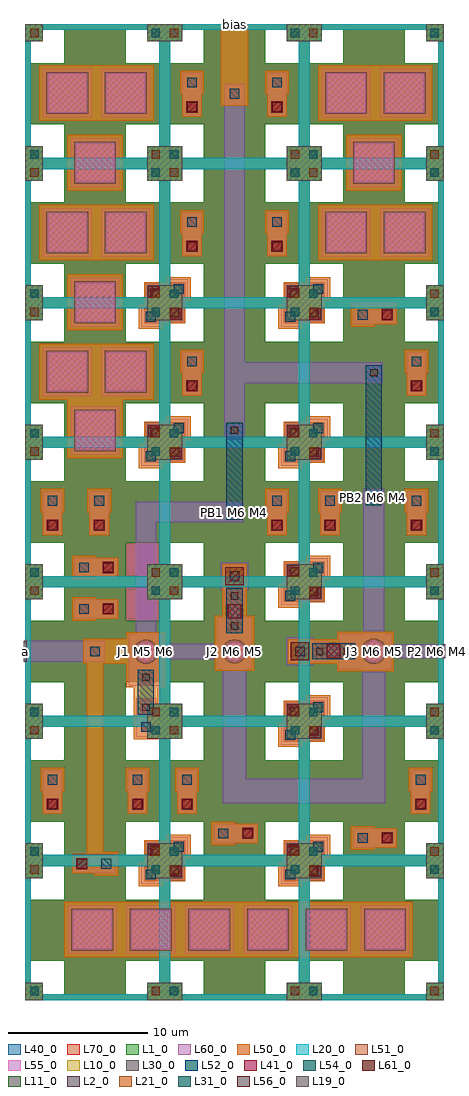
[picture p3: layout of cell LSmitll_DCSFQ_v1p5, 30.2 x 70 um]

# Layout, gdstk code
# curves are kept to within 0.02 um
from math import pi, radians
import gdstk
lib = gdstk.Library(unit=1e-6, precision=1e-09)
def R(c, l, rs):  # rectangles x0, y0, x1, y1
    for r in rs: c.add(gdstk.rectangle(r[:2], r[2:], *l))
def A(c, l, x, y, w, h, nx, ny, dx, dy):  # array of equal rectangles
    R(c, l, [(x+i*dx, y+j*dy, x+i*dx+w, y+j*dy+h) for i in range(nx) for j in range(ny)])
def P(c, l, *ps):  # polygons
    for p in ps: c.add(gdstk.Polygon(p, *l))
L1_0 = (1, 0)
L2_0 = (2, 0)
L10_0 = (10, 0)
L11_0 = (11, 0)
L19_0 = (19, 0)
L20_0 = (20, 0)
L21_0 = (21, 0)
L30_0 = (30, 0)
L31_0 = (31, 0)
L40_0 = (40, 0)
L41_0 = (41, 0)
L50_0 = (50, 0)
L51_0 = (51, 0)
L52_0 = (52, 0)
L54_0 = (54, 0)
L55_0 = (55, 0)
L56_0 = (56, 0)
L60_0 = (60, 0)
L61_0 = (61, 0)
L70_0 = (70, 0)

ls_fakejj_3umx3um = lib.new_cell('ls_FakeJJ_3umx3um')
R(ls_fakejj_3umx3um, L40_0, [(-2,-2,2,2)])
R(ls_fakejj_3umx3um, L50_0, [(-2,-2,2,2)])
R(ls_fakejj_3umx3um, L51_0, [(-1.5,-1.5,1.5,1.5)])
R(ls_fakejj_3umx3um, L55_0, [(-1.4,-1.4,1.4,1.4)])
R(ls_fakejj_3umx3um, L60_0, [(-1.75,-1.75,1.75,1.75)])

ls_tr_u_m4 = lib.new_cell('ls_tr_u_M4')
P(ls_tr_u_m4, L1_0, [(10,10),(7.2,10),(7.2,9.6),(8.75,9.6),(8.75,8.75),(9.6,8.75),(9.6,7.2),(7.2,7.2),(7.2,2.8),(9.6,2.8),(9.6,1.25),(8.75,1.25),(8.75,0.4),(7.2,0.4),(7.2,10),(1.25,10),(1.25,9.6),(2.8,9.6),(2.8,7.2),(0.4,7.2),(0.4,2.8),(2.8,2.8),(2.8,0.4),(1.25,0.4),(1.25,1.25),(0.4,1.25),(0.4,8.75),(1.25,8.75),(1.25,10),(0,10),(0,0),(10,0)])
R(ls_tr_u_m4, L2_0, [(9.05,0.35,9.65,0.95), (0.35,9.05,0.95,9.65)])
R(ls_tr_u_m4, L10_0, [(0,0,1.25,1.25), (8.75,0,10,1.25), (0,8.75,1.25,10), (8.75,8.75,10,10)])
R(ls_tr_u_m4, L11_0, [(0.35,0.35,0.95,0.95), (9.05,9.05,9.65,9.65)])
P(ls_tr_u_m4, L20_0, [(10,10),(1.25,10),(1.25,9.6),(8.75,9.6),(8.75,8.75),(9.6,8.75),(9.6,1.25),(8.75,1.25),(8.75,0.4),(1.25,0.4),(1.25,1.25),(0.4,1.25),(0.4,8.75),(1.25,8.75),(1.25,10),(0,10),(0,0),(10,0)])
R(ls_tr_u_m4, L21_0, [(9.05,0.35,9.65,0.95), (0.35,9.05,0.95,9.65)])
R(ls_tr_u_m4, L30_0, [(0,0,1.25,1.25), (8.75,0,10,1.25), (0,8.75,1.25,10), (8.75,8.75,10,10)])
R(ls_tr_u_m4, L31_0, [(0.35,0.35,0.95,0.95), (9.05,9.05,9.65,9.65)])
P(ls_tr_u_m4, L40_0, [(10,10),(7.2,10),(7.2,9.6),(8.75,9.6),(8.75,8.75),(9.6,8.75),(9.6,7.2),(7.2,7.2),(7.2,2.8),(9.6,2.8),(9.6,1.25),(8.75,1.25),(8.75,0.4),(7.2,0.4),(7.2,10),(1.25,10),(1.25,9.6),(2.8,9.6),(2.8,7.2),(0.4,7.2),(0.4,2.8),(2.8,2.8),(2.8,0.4),(1.25,0.4),(1.25,1.25),(0.4,1.25),(0.4,8.75),(1.25,8.75),(1.25,10),(0,10),(0,0),(10,0)])

ls_conn_m5m6 = lib.new_cell('ls_conn_M5M6')
R(ls_conn_m5m6, L50_0, [(0,0,1.7,1.7)])
R(ls_conn_m5m6, L54_0, [(0.5,0.5,1.2,1.2)])
R(ls_conn_m5m6, L60_0, [(0.15,0.15,1.55,1.55)])

ls_conn_m4m5m6m7 = lib.new_cell('ls_conn_M4M5M6M7')
R(ls_conn_m4m5m6m7, L40_0, [(0,0,1.4,1.4)])
R(ls_conn_m4m5m6m7, L41_0, [(0.3,0.3,1.1,1.1)])
P(ls_conn_m4m5m6m7, L50_0, [(3.3,1.55),(1.6,1.55),(1.6,1.4),(0,1.4),(0,0),(1.6,0),(1.6,-0.15),(3.3,-0.15)])
R(ls_conn_m4m5m6m7, L54_0, [(2.1,0.35,2.8,1.05)])
R(ls_conn_m4m5m6m7, L60_0, [(0,0,3.15,1.4)])
R(ls_conn_m4m5m6m7, L61_0, [(0.35,0.35,1.05,1.05)])
R(ls_conn_m4m5m6m7, L70_0, [(0,0,1.4,1.4)])

ls_tr_m7 = lib.new_cell('ls_tr_M7')
P(ls_tr_m7, L70_0, [(10,10),(7.2,10),(7.2,9.6),(8.75,9.6),(8.75,8.75),(9.6,8.75),(9.6,7.2),(7.2,7.2),(7.2,2.8),(9.6,2.8),(9.6,1.25),(8.75,1.25),(8.75,0.4),(7.2,0.4),(7.2,10),(1.25,10),(1.25,9.6),(2.8,9.6),(2.8,7.2),(0.4,7.2),(0.4,2.8),(2.8,2.8),(2.8,0.4),(1.25,0.4),(1.25,1.25),(0.4,1.25),(0.4,8.75),(1.25,8.75),(1.25,10),(0,10),(0,0),(10,0)])

ls_conn_m4m5m6m7_block = lib.new_cell('ls_conn_M4M5M6M7_block')
R(ls_conn_m4m5m6m7_block, L40_0, [(-1.475,-1.475,1.475,1.475)])
R(ls_conn_m4m5m6m7_block, L41_0, [(0.375,-1.175,1.175,-0.375), (-1.175,0.375,-0.375,1.175)])
P(ls_conn_m4m5m6m7_block, L50_0, [(1.85,1.85),(0.15,1.85),(0.15,1.475),(-1.475,1.475),(-1.475,-0.15),(-1.85,-0.15),(-1.85,-1.85),(-0.15,-1.85),(-0.15,-1.475),(1.475,-1.475),(1.475,0.15),(1.85,0.15)])
R(ls_conn_m4m5m6m7_block, L54_0, [(-1.35,-1.35,-0.65,-0.65), (0.65,0.65,1.35,1.35)])
P(ls_conn_m4m5m6m7_block, L60_0, [(1.7,1.7),(0.3,1.7),(0.3,1.45),(-1.45,1.45),(-1.45,-0.3),(-1.7,-0.3),(-1.7,-1.7),(-0.3,-1.7),(-0.3,-1.45),(1.45,-1.45),(1.45,0.3),(1.7,0.3)])
R(ls_conn_m4m5m6m7_block, L61_0, [(0.35,-1.05,1.05,-0.35), (-1.05,0.35,-0.35,1.05)])
R(ls_conn_m4m5m6m7_block, L70_0, [(-1.45,-1.45,1.45,1.45)])

ls_ib_175 = lib.new_cell('ls_ib_175')
R(ls_ib_175, L52_0, [(-0.575,0,0.575,10.05)])
R(ls_ib_175, L56_0, [(-0.26,0.29,0.26,0.81), (-0.26,9.26,0.26,9.78)])
R(ls_ib_175, L60_0, [(-0.625,-0.1,0.625,1.175), (-0.625,8.875,0.625,10.15)])

ls_ib_275 = lib.new_cell('ls_ib_275')
R(ls_ib_275, L52_0, [(-0.575,0,0.575,6.95)])
R(ls_ib_275, L56_0, [(-0.26,0.29,0.26,0.81), (-0.26,6.16,0.26,6.68)])
R(ls_ib_275, L60_0, [(-0.625,-0.1,0.625,1.175), (-0.625,5.775,0.625,7.05)])

ls_conn_m5m6m7 = lib.new_cell('ls_conn_M5M6M7')
R(ls_conn_m5m6m7, L50_0, [(-0.5,-0.5,1.2,1.2)])
R(ls_conn_m5m6m7, L54_0, [(0,0,0.7,0.7)])
R(ls_conn_m5m6m7, L60_0, [(-0.65,-0.65,1.35,1.35)])
R(ls_conn_m5m6m7, L61_0, [(-0.3,-0.3,1,1)])
R(ls_conn_m5m6m7, L70_0, [(-0.65,-0.65,1.35,1.35)])

ls_jj_250_sg = lib.new_cell('ls_jj_250_sg')
R(ls_jj_250_sg, L41_0, [(-0.5,2.4,0.5,3.4)])
R(ls_jj_250_sg, L50_0, [(-1.425,-1.425,1.425,2.625), (-0.875,2.625,0.875,6.175)])
P(ls_jj_250_sg, L51_0, [(0,-0.91),(0.18,-0.895),(0.35,-0.84),(0.645,-0.645),(0.84,-0.35),(0.91,0),(0.895,0.18),(0.84,0.35),(0.645,0.645),(0.35,0.84),(0.18,0.895),(0,0.91),(-0.18,0.895),(-0.35,0.84),(-0.645,0.645),(-0.84,0.35),(-0.895,0.18),(-0.91,0),(-0.84,-0.35),(-0.645,-0.645),(-0.35,-0.84),(-0.18,-0.895)])
R(ls_jj_250_sg, L52_0, [(-0.575,1.35,0.575,4.425)])
R(ls_jj_250_sg, L54_0, [(-0.35,4.95,0.35,5.65)])
P(ls_jj_250_sg, L55_0, [(0,-0.76),(0.15,-0.75),(0.29,-0.7),(0.54,-0.54),(0.7,-0.29),(0.75,-0.15),(0.76,0),(0.75,0.15),(0.7,0.29),(0.54,0.54),(0.29,0.7),(0.15,0.75),(0,0.76),(-0.15,0.75),(-0.29,0.7),(-0.54,0.54),(-0.7,0.29),(-0.75,0.15),(-0.76,0),(-0.75,-0.15),(-0.7,-0.29),(-0.54,-0.54),(-0.29,-0.7),(-0.15,-0.75)])
R(ls_jj_250_sg, L56_0, [(-0.26,1.64,0.26,2.16), (-0.26,3.63,0.26,4.15)])
R(ls_jj_250_sg, L60_0, [(-1.275,-1.275,1.275,2.525), (-0.725,3.25,0.725,6.025)])
ls_jj_250_sg.add(gdstk.Reference(ls_conn_m5m6m7, (-0.35,4.95)))

ls_jj_225_sg = lib.new_cell('ls_jj_225_sg')
R(ls_jj_225_sg, L41_0, [(-0.5,2.375,0.5,3.375)])
R(ls_jj_225_sg, L50_0, [(-1.4,-1.4,1.4,2.55), (-0.875,2.55,0.875,6.275)])
P(ls_jj_225_sg, L51_0, [(0,-0.865),(0.33,-0.8),(0.61,-0.61),(0.8,-0.33),(0.865,0),(0.8,0.33),(0.61,0.61),(0.33,0.8),(0,0.865),(-0.33,0.8),(-0.61,0.61),(-0.8,0.33),(-0.865,0),(-0.8,-0.33),(-0.61,-0.61),(-0.33,-0.8)])
R(ls_jj_225_sg, L52_0, [(-0.575,1.3,0.575,4.525)])
R(ls_jj_225_sg, L54_0, [(-0.35,5.05,0.35,5.75)])
P(ls_jj_225_sg, L55_0, [(0,-0.72),(0.27,-0.67),(0.51,-0.51),(0.61,-0.4),(0.73,-0.01),(0.61,0.39),(0.51,0.5),(0.27,0.66),(0,0.71),(-0.27,0.66),(-0.51,0.5),(-0.61,0.39),(-0.73,-0.01),(-0.61,-0.4),(-0.51,-0.51),(-0.27,-0.67)])
R(ls_jj_225_sg, L56_0, [(-0.26,1.57,0.26,2.09), (-0.26,3.72,0.26,4.24)])
R(ls_jj_225_sg, L60_0, [(-1.25,-1.25,1.25,2.45), (-0.725,3.35,0.725,6.125)])
ls_jj_225_sg.add(gdstk.Reference(ls_conn_m5m6m7, (-0.35,5.05)))

ls_jj_225_s = lib.new_cell('ls_jj_225_s')
R(ls_jj_225_s, L50_0, [(-1.4,-1.4,1.4,2.55), (-0.875,2.55,0.875,6.275)])
P(ls_jj_225_s, L51_0, [(0,-0.865),(0.33,-0.8),(0.61,-0.61),(0.8,-0.33),(0.865,0),(0.8,0.33),(0.61,0.61),(0.33,0.8),(0,0.865),(-0.33,0.8),(-0.61,0.61),(-0.8,0.33),(-0.865,0),(-0.8,-0.33),(-0.61,-0.61),(-0.33,-0.8)])
R(ls_jj_225_s, L52_0, [(-0.575,1.3,0.575,4.525)])
R(ls_jj_225_s, L54_0, [(-0.35,5.05,0.35,5.75)])
P(ls_jj_225_s, L55_0, [(0,-0.72),(0.27,-0.67),(0.51,-0.51),(0.61,-0.4),(0.73,-0.01),(0.61,0.39),(0.51,0.5),(0.27,0.66),(0,0.71),(-0.27,0.66),(-0.51,0.5),(-0.61,0.39),(-0.73,-0.01),(-0.61,-0.4),(-0.51,-0.51),(-0.27,-0.67)])
R(ls_jj_225_s, L56_0, [(-0.26,1.57,0.26,2.09), (-0.26,3.72,0.26,4.24)])
R(ls_jj_225_s, L60_0, [(-1.25,-1.25,1.25,2.45), (-0.725,3.35,0.725,6.125)])

lsmitll_dcsfq_v1p5 = lib.new_cell('LSmitll_DCSFQ_v1p5')
R(lsmitll_dcsfq_v1p5, L19_0, [(14.75,34.75,15.25,35.25), (24.75,35.775,25.25,36.275)])
R(lsmitll_dcsfq_v1p5, L40_0, [(7.2,27.2,9.7,32.8)])
A(lsmitll_dcsfq_v1p5, L50_0, 6.8, 3.05, 0.2, 4, 5, 1, 4.2, 0)
A(lsmitll_dcsfq_v1p5, L50_0, 5, 43.05, 0.2, 4, 1, 3, 0, 10)
R(lsmitll_dcsfq_v1p5, L50_0, [(3,42.85,7,43.05), (25.05,49.85,26.65,50), (25,53.05,25.2,57.05), (25,63.05,25.2,67.05)])
R(lsmitll_dcsfq_v1p5, L60_0, [(14.275,34.25,15.625,35.75), (23.5,49.85,26.65,50)])
R(lsmitll_dcsfq_v1p5, L70_0, [(7.2,27.2,9.7,32.8)])
lsmitll_dcsfq_v1p5.add(gdstk.FlexPath([(30,25.5),(30,24.5)], 0.2, ends="flush", simple_path=True, layer=19, datatype=0))  # L19_0
lsmitll_dcsfq_v1p5.add(gdstk.FlexPath([(15,65.7),(15,40.225)], 1.5, ends="flush", simple_path=True, layer=60, datatype=0))  # L60_0
lsmitll_dcsfq_v1p5.add(gdstk.FlexPath([(14.25,45),(25.625,45)], 1.5, ends="flush", simple_path=True, layer=60, datatype=0))  # L60_0
lsmitll_dcsfq_v1p5.add(gdstk.FlexPath([(25,26.275),(25,36.65)], 1.5, ends="flush", simple_path=True, layer=60, datatype=0))  # L60_0
lsmitll_dcsfq_v1p5.add(gdstk.FlexPath([(0,25.75),(0,24.25)], 0.2, ends="flush", simple_path=True, layer=19, datatype=0))  # L19_0
lsmitll_dcsfq_v1p5.add(gdstk.FlexPath([(15,64.15),(15,70)], 2, ends="flush", simple_path=True, layer=50, datatype=0))  # L50_0
lsmitll_dcsfq_v1p5.add(gdstk.FlexPath([(8.65,26.225),(8.65,35),(14.275,35)], 1.5, ends="flush", simple_path=True, layer=60, datatype=0))  # L60_0
lsmitll_dcsfq_v1p5.add(gdstk.FlexPath([(26.275,25),(30,25)], 1, ends="flush", simple_path=True, layer=60, datatype=0))  # L60_0
lsmitll_dcsfq_v1p5.add(gdstk.FlexPath([(25,14.35),(25,23.725)], 1.65, ends="flush", simple_path=True, layer=60, datatype=0))  # L60_0
lsmitll_dcsfq_v1p5.add(gdstk.FlexPath([(14.15,15),(25.825,15)], 1.75, ends="flush", simple_path=True, layer=60, datatype=0))  # L60_0
lsmitll_dcsfq_v1p5.add(gdstk.FlexPath([(15,23.75),(15,14.4)], 1.7, ends="flush", simple_path=True, layer=60, datatype=0))  # L60_0
lsmitll_dcsfq_v1p5.add(gdstk.FlexPath([(13.825,25),(9.825,25)], 1.1, ends="flush", simple_path=True, layer=60, datatype=0))  # L60_0
lsmitll_dcsfq_v1p5.add(gdstk.FlexPath([(5,25.85),(5,9.925)], 1.2, ends="flush", simple_path=True, layer=50, datatype=0))  # L50_0
lsmitll_dcsfq_v1p5.add(gdstk.FlexPath([(0,25),(5.7,25)], 1.5, ends="flush", simple_path=True, layer=60, datatype=0))  # L60_0
lsmitll_dcsfq_v1p5.add(gdstk.FlexPath([(4.15,25),(7.325,25)], 1.8, ends="flush", simple_path=True, layer=50, datatype=0))  # L50_0
lsmitll_dcsfq_v1p5.add(gdstk.Reference(ls_fakejj_3umx3um, (25,60.05)))
lsmitll_dcsfq_v1p5.add(gdstk.Reference(ls_tr_u_m4, (0,60)))
lsmitll_dcsfq_v1p5.add(gdstk.Reference(ls_tr_u_m4, (10,60)))
lsmitll_dcsfq_v1p5.add(gdstk.Reference(ls_tr_u_m4, (20,60)))
lsmitll_dcsfq_v1p5.add(gdstk.Reference(ls_tr_u_m4, (20,50)))
lsmitll_dcsfq_v1p5.add(gdstk.Reference(ls_tr_u_m4, (10,50)))
lsmitll_dcsfq_v1p5.add(gdstk.Reference(ls_tr_u_m4, (0,50)))
lsmitll_dcsfq_v1p5.add(gdstk.Reference(ls_conn_m5m6, (14.15,64.15)))
lsmitll_dcsfq_v1p5.add(gdstk.Reference(ls_conn_m4m5m6m7, (6.65,31.725), rotation=pi))
lsmitll_dcsfq_v1p5.add(gdstk.Reference(ls_fakejj_3umx3um, (3,45.05)))
r = gdstk.Reference(ls_tr_m7, (0,0)); r.repetition = gdstk.Repetition(3, 7, v1=(10,0), v2=(0,10)); lsmitll_dcsfq_v1p5.add(r)
lsmitll_dcsfq_v1p5.add(gdstk.Reference(ls_conn_m4m5m6m7_block, (10,40)))
lsmitll_dcsfq_v1p5.add(gdstk.Reference(ls_conn_m4m5m6m7_block, (10,10)))
lsmitll_dcsfq_v1p5.add(gdstk.Reference(ls_conn_m4m5m6m7_block, (20,10)))
lsmitll_dcsfq_v1p5.add(gdstk.Reference(ls_conn_m4m5m6m7_block, (20,20)))
lsmitll_dcsfq_v1p5.add(gdstk.Reference(ls_conn_m4m5m6m7_block, (20,30)))
lsmitll_dcsfq_v1p5.add(gdstk.Reference(ls_conn_m4m5m6m7_block, (20,40)))
lsmitll_dcsfq_v1p5.add(gdstk.Reference(ls_conn_m4m5m6m7, (3.35,9.075)))
lsmitll_dcsfq_v1p5.add(gdstk.Reference(ls_conn_m5m6, (4.15,24.15)))
lsmitll_dcsfq_v1p5.add(gdstk.Reference(ls_ib_175, (25,35.475)))
lsmitll_dcsfq_v1p5.add(gdstk.Reference(ls_ib_275, (15,34.45)))
lsmitll_dcsfq_v1p5.add(gdstk.Reference(ls_jj_250_sg, (25,25), rotation=pi/2))
lsmitll_dcsfq_v1p5.add(gdstk.Reference(ls_jj_225_sg, (15,25)))
lsmitll_dcsfq_v1p5.add(gdstk.Reference(ls_jj_225_s, (8.65,24.975), rotation=pi))
lsmitll_dcsfq_v1p5.add(gdstk.Reference(ls_tr_u_m4, (0,40)))
lsmitll_dcsfq_v1p5.add(gdstk.Reference(ls_tr_u_m4, (0,30)))
lsmitll_dcsfq_v1p5.add(gdstk.Reference(ls_tr_u_m4, (0,20)))
lsmitll_dcsfq_v1p5.add(gdstk.Reference(ls_tr_u_m4, (0,10)))
lsmitll_dcsfq_v1p5.add(gdstk.Reference(ls_tr_u_m4, (0,0)))
lsmitll_dcsfq_v1p5.add(gdstk.Reference(ls_tr_u_m4, (10,0)))
lsmitll_dcsfq_v1p5.add(gdstk.Reference(ls_tr_u_m4, (10,10)))
lsmitll_dcsfq_v1p5.add(gdstk.Reference(ls_tr_u_m4, (10,20)))
lsmitll_dcsfq_v1p5.add(gdstk.Reference(ls_tr_u_m4, (10,30)))
lsmitll_dcsfq_v1p5.add(gdstk.Reference(ls_tr_u_m4, (10,40)))
lsmitll_dcsfq_v1p5.add(gdstk.Reference(ls_tr_u_m4, (20,40)))
lsmitll_dcsfq_v1p5.add(gdstk.Reference(ls_tr_u_m4, (20,30)))
lsmitll_dcsfq_v1p5.add(gdstk.Reference(ls_tr_u_m4, (20,20)))
lsmitll_dcsfq_v1p5.add(gdstk.Reference(ls_tr_u_m4, (20,10)))
lsmitll_dcsfq_v1p5.add(gdstk.Reference(ls_tr_u_m4, (20,0)))
lsmitll_dcsfq_v1p5.add(gdstk.Reference(ls_conn_m4m5m6m7, (12.3,13.35), rotation=pi/2))
lsmitll_dcsfq_v1p5.add(gdstk.Reference(ls_conn_m4m5m6m7, (8.75,13.35), rotation=pi/2))
lsmitll_dcsfq_v1p5.add(gdstk.Reference(ls_conn_m4m5m6m7, (2.65,13.35), rotation=pi/2))
lsmitll_dcsfq_v1p5.add(gdstk.Reference(ls_conn_m4m5m6m7, (18.75,33.35), rotation=pi/2))
lsmitll_dcsfq_v1p5.add(gdstk.Reference(ls_conn_m4m5m6m7, (22.55,33.35), rotation=pi/2))
lsmitll_dcsfq_v1p5.add(gdstk.Reference(ls_conn_m4m5m6m7, (16.65,12.65), rotation=pi))
lsmitll_dcsfq_v1p5.add(gdstk.Reference(ls_conn_m4m5m6m7, (26.65,12.325), rotation=pi))
lsmitll_dcsfq_v1p5.add(gdstk.Reference(ls_conn_m4m5m6m7, (6.65,28.75), rotation=pi))
lsmitll_dcsfq_v1p5.add(gdstk.Reference(ls_conn_m4m5m6m7, (12.65,43.35), rotation=pi/2))
lsmitll_dcsfq_v1p5.add(gdstk.Reference(ls_conn_m4m5m6m7, (26.65,49.85), rotation=pi))
lsmitll_dcsfq_v1p5.add(gdstk.Reference(ls_fakejj_3umx3um, (7.2,45.05)))
lsmitll_dcsfq_v1p5.add(gdstk.Reference(ls_fakejj_3umx3um, (5,40.85)))
lsmitll_dcsfq_v1p5.add(gdstk.Reference(ls_fakejj_3umx3um, (9,5.05)))
lsmitll_dcsfq_v1p5.add(gdstk.Reference(ls_fakejj_3umx3um, (4.8,5.05)))
lsmitll_dcsfq_v1p5.add(gdstk.Reference(ls_fakejj_3umx3um, (13.2,5.05)))
lsmitll_dcsfq_v1p5.add(gdstk.Reference(ls_fakejj_3umx3um, (17.4,5.05)))
lsmitll_dcsfq_v1p5.add(gdstk.Reference(ls_fakejj_3umx3um, (25.8,5.05)))
lsmitll_dcsfq_v1p5.add(gdstk.Reference(ls_fakejj_3umx3um, (21.6,5.05)))
lsmitll_dcsfq_v1p5.add(gdstk.Reference(ls_conn_m4m5m6m7, (6,33.35), rotation=pi/2))
lsmitll_dcsfq_v1p5.add(gdstk.Reference(ls_conn_m4m5m6m7, (29.05,13.35), rotation=pi/2))
lsmitll_dcsfq_v1p5.add(gdstk.Reference(ls_conn_m4m5m6m7, (2.65,33.35), rotation=pi/2))
lsmitll_dcsfq_v1p5.add(gdstk.Reference(ls_conn_m4m5m6m7, (28.75,33.35), rotation=pi/2))
lsmitll_dcsfq_v1p5.add(gdstk.Reference(ls_conn_m4m5m6m7, (28.75,43.35), rotation=pi/2))
lsmitll_dcsfq_v1p5.add(gdstk.Reference(ls_conn_m4m5m6m7, (12.65,53.35), rotation=pi/2))
lsmitll_dcsfq_v1p5.add(gdstk.Reference(ls_conn_m4m5m6m7, (18.75,53.35), rotation=pi/2))
lsmitll_dcsfq_v1p5.add(gdstk.Reference(ls_conn_m4m5m6m7, (18.75,63.35), rotation=pi/2))
lsmitll_dcsfq_v1p5.add(gdstk.Reference(ls_conn_m4m5m6m7, (12.65,63.35), rotation=pi/2))
lsmitll_dcsfq_v1p5.add(gdstk.Reference(ls_fakejj_3umx3um, (7.2,55.05)))
lsmitll_dcsfq_v1p5.add(gdstk.Reference(ls_fakejj_3umx3um, (3,55.05)))
lsmitll_dcsfq_v1p5.add(gdstk.Reference(ls_fakejj_3umx3um, (3,65.05)))
lsmitll_dcsfq_v1p5.add(gdstk.Reference(ls_fakejj_3umx3um, (7.2,65.05)))
lsmitll_dcsfq_v1p5.add(gdstk.Reference(ls_fakejj_3umx3um, (27.2,65.05)))
lsmitll_dcsfq_v1p5.add(gdstk.Reference(ls_fakejj_3umx3um, (23,65.05)))
lsmitll_dcsfq_v1p5.add(gdstk.Reference(ls_fakejj_3umx3um, (23,55.05)))
lsmitll_dcsfq_v1p5.add(gdstk.Reference(ls_fakejj_3umx3um, (27.2,55.05)))
lsmitll_dcsfq_v1p5.add(gdstk.Reference(ls_conn_m4m5m6m7_block, (20,50)))
lsmitll_dcsfq_v1p5.add(gdstk.Reference(ls_conn_m4m5m6m7_block, (10,50)))
lsmitll_dcsfq_v1p5.add(gdstk.Reference(ls_fakejj_3umx3um, (5,50.05)))
lsmitll_dcsfq_v1p5.add(gdstk.Reference(ls_fakejj_3umx3um, (5,60.05)))
lsmitll_dcsfq_v1p5.add(gdstk.Label('P2 M6 M4', (30,25), layer=182, texttype=0))
lsmitll_dcsfq_v1p5.add(gdstk.Label('bias', (15,70), layer=182, texttype=0))
lsmitll_dcsfq_v1p5.add(gdstk.Label('q', (30,25), layer=182, texttype=0))
lsmitll_dcsfq_v1p5.add(gdstk.Label('a', (0,25), layer=182, texttype=0))
lsmitll_dcsfq_v1p5.add(gdstk.Label('J3 M6 M5', (25.025,25.025), layer=182, texttype=0))
lsmitll_dcsfq_v1p5.add(gdstk.Label('J2 M6 M5', (14.975,25), layer=182, texttype=0))
lsmitll_dcsfq_v1p5.add(gdstk.Label('J1 M5 M6', (8.625,25), layer=182, texttype=0))
lsmitll_dcsfq_v1p5.add(gdstk.Label('PB2 M6 M4', (25,36.05), layer=182, texttype=0))
lsmitll_dcsfq_v1p5.add(gdstk.Label('PB1 M6 M4', (15,35), layer=182, texttype=0))
lsmitll_dcsfq_v1p5.add(gdstk.Label('P1 M6 M4', (0,25.125), layer=182, texttype=0))

lib.write_gds('LSmitll_DCSFQ_v1p5.gds')
